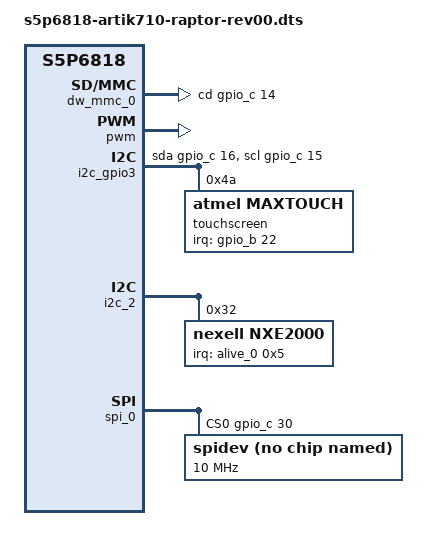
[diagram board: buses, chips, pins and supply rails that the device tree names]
/*
 * Copyright (C) 2016  Nexell Co., Ltd.
 * Author: Youngbok, Park <ybpark@nexell.co.kr>
 *
 * This program is free software; you can redistribute it and/or
 * modify it under the terms of the GNU General Public License
 * as published by the Free Software Foundation; either version 2
 * of the License, or (at your option) any later version.
 *
 * This program is distributed in the hope that it will be useful,
 * but WITHOUT ANY WARRANTY; without even the implied warranty of
 * MERCHANTABILITY or FITNESS FOR A PARTICULAR PURPOSE.  See the
 * GNU General Public License for more details.
 *
 * You should have received a copy of the GNU General Public License
 * along with this program.  If not, see <http://www.gnu.org/licenses/>.
 */

/dts-v1/;
#include "s5p6818-artik710-raptor-common.dtsi"
/ {
	soc {
		pinctrl@C0010000 {
			key_up:key_up {
				nexell,pins = "gpioa-26";
				nexell,pin-function = <0>;
				nexell,pin-pull = <1>;
				nexell,pin-strength = <0>;
			};

			key_down:key_down {
				nexell,pins = "gpioa-27";
				nexell,pin-function = <0>;
				nexell,pin-pull = <1>;
				nexell,pin-strength = <0>;
			};

			key_back:key_back {
				nexell,pins = "gpioa-25";
				nexell,pin-function = <0>;
				nexell,pin-pull = <1>;
				nexell,pin-strength = <0>;
			};

			key_home:key_home {
				nexell,pins = "alive-1";
				nexell,pin-function = <0>;
				nexell,pin-pull = <1>;
				nexell,pin-strength = <0>;
			};

			key_menu:key_menu {
				nexell,pins = "gpioa-0";
				nexell,pin-function = <0>;
				nexell,pin-pull = <1>;
				nexell,pin-strength = <0>;
			};

			touchpanel_irq: touchpanel-irq {
				nexell,pins = "gpiob-22";
				nexell,pin-function = <1>;
				nexell,pin-pull = <1>;
				nexell,pin-strength = <0>;
			};
		};
	};	/*** soc ***/
};

&dw_mmc_0 {
	cd-gpios = <&gpio_c 14 0>;
};

&pwm {
	status = "okay";
	pinctrl-0 = <&pwm0_pin &pwm1_pin>;
	samsung,pwm-outputs = <0>, <1>;
};

&i2c_gpio3 {
	compatible = "i2c-gpio";
	gpios = <&gpio_c 16 0	/* sda */
		&gpio_c 15 0	/* scl */
		>;
	#address-cells = <1>;
	#size-cells = <0>;
	status = "okay";

	touchscreen@4a {
		compatible = "atmel,maxtouch";
		reg = <0x4a>;
		interrupt-parent = <&gpio_b>;
		interrupts = <22 IRQ_TYPE_EDGE_FALLING>;
		pinctrl-names = "default";
		pinctrl-0 = <&touchpanel_irq>;
		skip-cfg-load;
		switch-xy;
	};
};

&i2c_gpio5 {
	status = "disabled";
};

&i2c_2 {
	#address-cells = <1>;
	#size-cells = <0>;
	status = "okay";

	nxe2000@32 {
		compatible = "nexell,nxe2000";
		reg = <0x32>;
		interrupt-parent = <&alive_0>;
		interrupts = <0x5 IRQ_TYPE_EDGE_FALLING>;
		pinctrl-names = "default";
		pinctrl-0 = <&pmic_irq>;
	};

	touchscreen@4a {
		status = "disabled";
	};
};

&i2c_gpio10 {
	status = "disabled";
};

&i2c_gpio11 {
	status = "disabled";
};

&panel {
	enable-gpios = <&gpio_c 17 0>;
};

&gpio_key {
	pinctrl-names = "default";
	pinctrl-0 = <&key_up &key_down &key_back
			&key_pwr &key_home &key_menu>;
	up {
		label = "Up";
		gpios = <&gpio_a 26 1>;
		linux,code = <KEY_UP>;
	};
	down {
		label = "Down";
		gpios = <&gpio_a 27 1>;
		linux,code = <KEY_DOWN>;
	};

	back {
		label = "Back";
		gpios = <&gpio_a 25 1>;
		linux,code = <KEY_BACK>;
	};

	home {
		label = "Home";
		gpios = <&alive_0 1 1>;
		linux,code = <KEY_HOME>;
	};

	menu {
		label = "Menu";
		gpios = <&gpio_a 0 1>;
		linux,code = <KEY_MENU>;
	};
};

&spi_0 {
	status = "okay";
	cs-gpios = <&gpio_c 30 0>;
	spidev@0 {
		compatible = "linux,spidev";
		reg = <0>;
		spi-max-frequency = <10000000>;
		controller-data {
			samsung,spi-feedback-delay = <0>;
		};
	};
};
